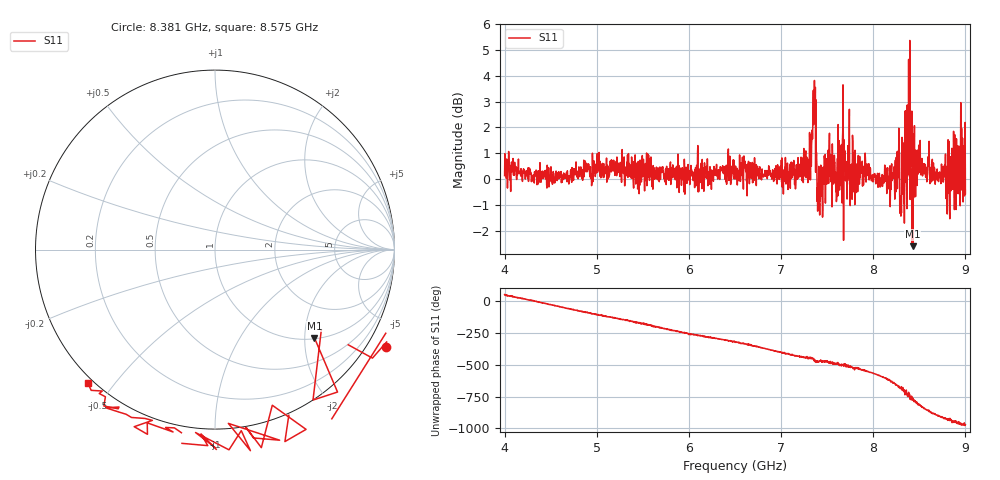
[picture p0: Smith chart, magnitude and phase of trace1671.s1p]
! Created with skrf 1.8.0 (http://scikit-rf.org).
# Hz S RI R 50.0
!freq ReS11 ImS11
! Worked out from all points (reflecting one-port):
!   1601 points, 4 GHz to 9 GHz, reference 50 ohm
!   lowest |S11| = -2.6 dB at 8.431 GHz (marker M1), VSWR 6.71, Z = 51.2 - j112 ohm
!   phase of S11 starts at 55 deg and turns -1025 deg over the sweep
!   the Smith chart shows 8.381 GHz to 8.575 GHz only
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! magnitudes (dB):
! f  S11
! 4 GHz  0.1
! 4.625 GHz  -0.1
! 5.25 GHz  0.1
! 5.875 GHz  0.1
! 6.5 GHz  0.3
! 7.125 GHz  0.4
! 7.297 GHz  0.7
! 7.356 GHz  3.0
! 7.369 GHz  2.8
! 7.4 GHz  -0.2
! 7.412 GHz  -1.2
! 7.512 GHz  1.1
! 7.591 GHz  0.3
! 7.65 GHz  1.0
! 7.75 GHz  -1.0
! 8.075 GHz  0.0
! 8.209 GHz  0.2
! 8.259 GHz  0.3
! 8.312 GHz  1.6
! 8.334 GHz  0.1
! 8.356 GHz  2.6
! 8.375 GHz  0.2
! 8.394 GHz  0.1
! 8.412 GHz  1.2
! 8.431 GHz  -2.6
! 8.812 GHz  1.5
! 8.972 GHz  0.8
! 9 GHz  -0.6
